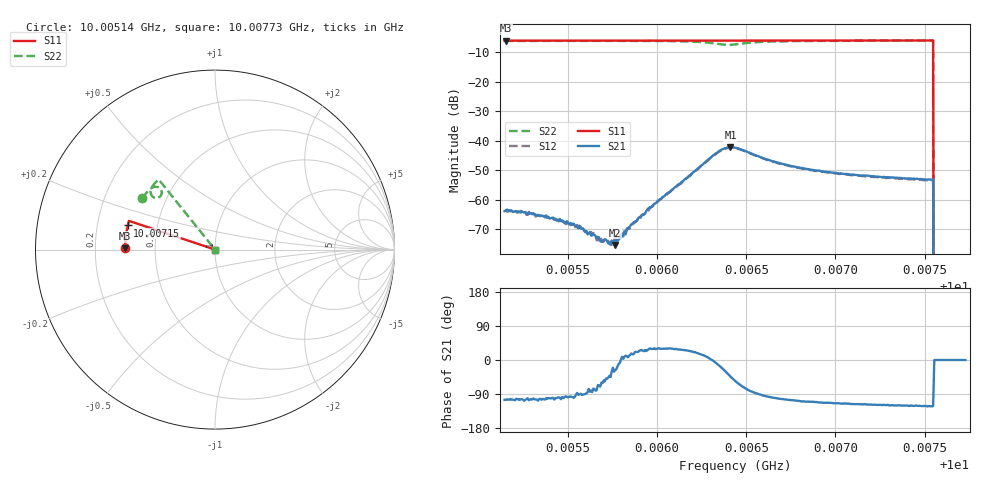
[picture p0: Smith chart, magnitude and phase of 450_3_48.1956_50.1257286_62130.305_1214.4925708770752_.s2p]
#  HZ  S  RI  R  50.00
! Rohde & Schwarz Vector Network Analyzer
! Rohde-Schwarz,ZNB20-2Port,1311601062101988,3.16
! Created: UTC 3/20/2024, 11:56:13 AM
! freq[Hz]  re:S11  im:S11  re:S21  im:S21  re:S12  im:S12  re:S22  im:S22
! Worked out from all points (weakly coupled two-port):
!   401 points, 10.00514 GHz to 10.00773 GHz, reference 50 ohm
!   highest |S21| = -42.17 dB at 10.00641 GHz (marker M1); lowest = -75.3 dB at 10.00576 GHz (marker M2)
!   lowest |S11| = -6.0 dB at 10.00515 GHz (marker M3), VSWR 3.00, Z = 16.7 + j0.308 ohm
!   |S11| at or under -10 dB: 10.00755 GHz to end of sweep
!   |S22| runs from - to -6.0 dB; largest |S21 - S12| = 0.00047
!   S11 on the Smith chart (normalised r, x): 10.00514 GHz: 0.33, +0.01; 10.00715 GHz: 0.33, +0.12; 10.00773 GHz: 1.00, +0.00
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1.0005144e10  -0.5004 0.00665  -0.000166 -0.000619  -0.000132 -0.00066  -0.4043 0.2858
1.000515e10  -0.5003 0.00693  -0.000171 -0.000627  -0.000143 -0.000637  -0.4041 0.2862
1.0005351e10  -0.5003 0.0199  -0.000138 -0.000526  -9.54e-05 -0.000543  -0.3962 0.298
1.0005577e10  -0.5 0.0347  -1.16e-05 -0.000322  5.38e-06 -0.000305  -0.3863 0.3115
1.0005687e10  -0.4996 0.0419  9.75e-05 -0.000167  0.000115 -0.000182  -0.3809 0.3182
1.0005725e10  -0.4995 0.0444  0.000126 -0.000131  0.00015 -0.000121  -0.3789 0.3207
1.0005738e10  -0.4994 0.0452  0.000123 -0.000122  0.000177 -8.17e-05  -0.3781 0.3215
1.0005764e10  -0.4993 0.0469  0.000154 -7.71e-05  0.000213 -9.29e-05  -0.3767 0.3232
1.0005797e10  -0.4991 0.0489  0.000226 6.11e-06  0.00023 -9.72e-06  -0.3749 0.3252
1.0005842e10  -0.4991 0.0519  0.000335 6.2e-05  0.00031 8.61e-05  -0.3719 0.3281
1.0005906e10  -0.4987 0.0561  0.000468 0.000225  0.000441 0.000217  -0.3679 0.3323
1.000601e10  -0.4981 0.0628  0.00085 0.000519  0.000827 0.000512  -0.3593 0.3392
1.0006327e10  -0.4951 0.0832  0.00603 -0.00069  0.00589 -0.000361  -0.3001 0.3321
1.0006411e10  -0.4942 0.088  0.00564 -0.00537  0.00581 -0.00493  -0.3102 0.2926
1.0006437e10  -0.4942 0.0895  0.00441 -0.00627  0.00468 -0.00591  -0.323 0.288
1.0006689e10  -0.4922 0.1057  -0.00091 -0.00406  -0.000672 -0.00402  -0.3575 0.3325
1.000687e10  -0.4899 0.1174  -0.00112 -0.00301  -0.000977 -0.00302  -0.3491 0.3513
1.0007148e10  -0.4859 0.1349  -0.00115 -0.00229  -0.00103 -0.00231  -0.3349 0.3703
1.0007303e10  -0.4836 0.1444  -0.0012 -0.00208  -0.00107 -0.00209  -0.327 0.379
1.0007535e10  -0.4795 0.159  -0.00118 -0.00187  -0.00105 -0.00187  -0.3151 0.3907
1.0007568e10  0 0  0 0  0 0  0 0
1.0007729e10  0 0  0 0  0 0  0 0
